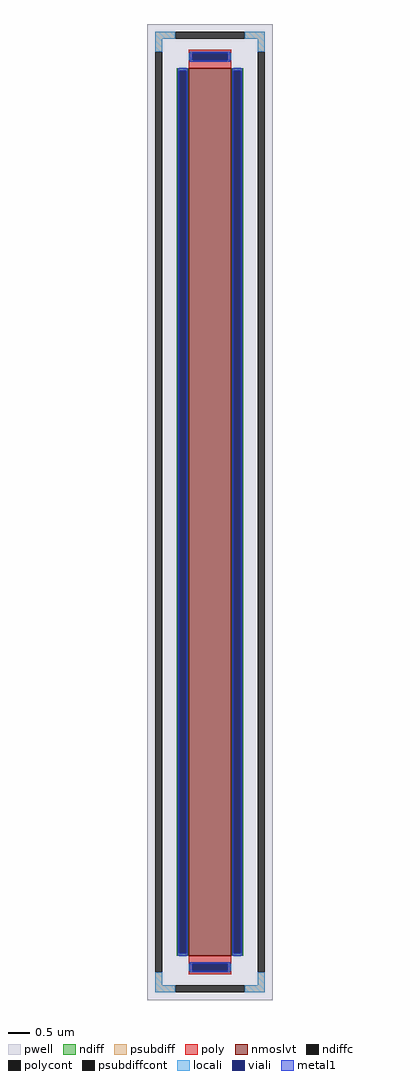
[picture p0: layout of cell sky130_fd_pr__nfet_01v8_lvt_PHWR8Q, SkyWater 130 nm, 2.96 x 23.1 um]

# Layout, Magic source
magic
tech sky130A
<< pwell >>
rect -148 -1155 148 1155
<< nmoslvt >>
rect -50 -1050 50 1050
<< ndiff >>
rect -79 1044 -50 1050
rect -79 -1044 -73 1044
rect -56 -1044 -50 1044
rect -79 -1050 -50 -1044
rect 50 1044 79 1050
rect 50 -1044 56 1044
rect 73 -1044 79 1044
rect 50 -1050 79 -1044
<< ndiffc >>
rect -73 -1044 -56 1044
rect 56 -1044 73 1044
<< psubdiff >>
rect -130 1120 -82 1137
rect 82 1120 130 1137
rect -130 1089 -113 1120
rect 113 1089 130 1120
rect -130 -1120 -113 -1089
rect 113 -1120 130 -1089
rect -130 -1137 -82 -1120
rect 82 -1137 130 -1120
<< psubdiffcont >>
rect -82 1120 82 1137
rect -130 -1089 -113 1089
rect 113 -1089 130 1089
rect -82 -1137 82 -1120
<< poly >>
rect -50 1086 50 1094
rect -50 1069 -42 1086
rect 42 1069 50 1086
rect -50 1050 50 1069
rect -50 -1069 50 -1050
rect -50 -1086 -42 -1069
rect 42 -1086 50 -1069
rect -50 -1094 50 -1086
<< polycont >>
rect -42 1069 42 1086
rect -42 -1086 42 -1069
<< locali >>
rect -130 1120 -82 1137
rect 82 1120 130 1137
rect -130 1089 -113 1120
rect 113 1089 130 1120
rect -50 1069 -42 1086
rect 42 1069 50 1086
rect -73 1044 -56 1052
rect -73 -1052 -56 -1044
rect 56 1044 73 1052
rect 56 -1052 73 -1044
rect -50 -1086 -42 -1069
rect 42 -1086 50 -1069
rect -130 -1120 -113 -1089
rect 113 -1120 130 -1089
rect -130 -1137 -82 -1120
rect 82 -1137 130 -1120
<< viali >>
rect -42 1069 42 1086
rect -73 -1044 -56 1044
rect 56 -1044 73 1044
rect -42 -1086 42 -1069
<< metal1 >>
rect -48 1086 48 1089
rect -48 1069 -42 1086
rect 42 1069 48 1086
rect -48 1066 48 1069
rect -76 1044 -53 1050
rect -76 -1044 -73 1044
rect -56 -1044 -53 1044
rect -76 -1050 -53 -1044
rect 53 1044 76 1050
rect 53 -1044 56 1044
rect 73 -1044 76 1044
rect 53 -1050 76 -1044
rect -48 -1069 48 -1066
rect -48 -1086 -42 -1069
rect 42 -1086 48 -1069
rect -48 -1089 48 -1086
<< properties >>
string FIXED_BBOX -121 -1128 121 1128
string gencell sky130_fd_pr__nfet_01v8_lvt
string library sky130
string parameters w 21.0 l 1.0 m 1 nf 1 diffcov 100 polycov 100 guard 1 glc 1 grc 1 gtc 1 gbc 1 tbcov 100 rlcov 100 topc 1 botc 1 poverlap 0 doverlap 1 lmin 0.15 wmin 0.42 class mosfet compatible {sky130_fd_pr__nfet_01v8 sky130_fd_pr__nfet_01v8_lvt  sky130_fd_bs_flash__special_sonosfet_star  sky130_fd_pr__nfet_g5v0d10v5 sky130_fd_pr__nfet_05v0_nvt  sky130_fd_pr__nfet_03v3_nvt} full_metal 1 viasrc 100 viadrn 100 viagate 100 viagb 0 viagr 0 viagl 0 viagt 0 ad {int((nf+1)/2) * W/nf * 0.29} as {int((nf+2)/2) * W/nf * 0.29} pd {2*int((nf+1)/2) * (W/nf + 0.29)} ps {2*int((nf+2)/2) * (W/nf + 0.29)} nrd {0.29 / W} nrs {0.29 / W} sa 0 sb 0 sd 0 mult 1
<< end >>
